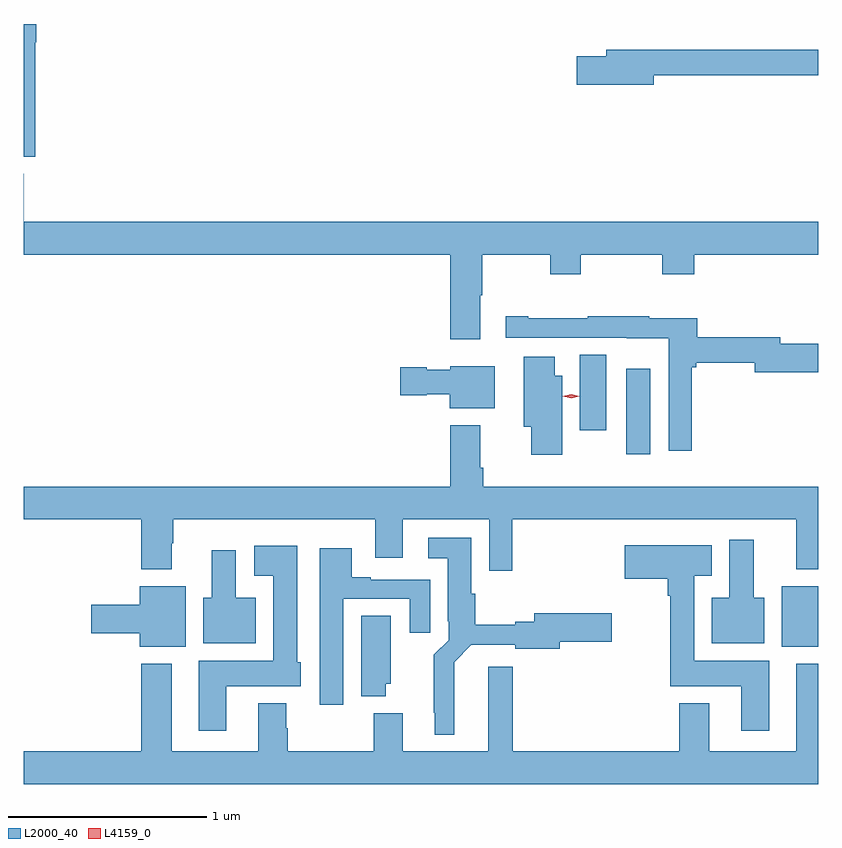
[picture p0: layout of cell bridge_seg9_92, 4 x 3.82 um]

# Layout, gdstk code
import gdstk
lib = gdstk.Library(unit=1e-6, precision=1e-09)
def R(c, l, rs):  # rectangles x0, y0, x1, y1
    for r in rs: c.add(gdstk.rectangle(r[:2], r[2:], *l))
def P(c, l, *ps):  # polygons
    for p in ps: c.add(gdstk.Polygon(p, *l))
L2000_40 = (2000, 40)
L4159_0 = (4159, 0)

bridge_seg9_92 = lib.new_cell('bridge_seg9_92')
R(bridge_seg9_92, L2000_40, [(712.487,1229.078,712.672,1229.383), (711.704,1230.048,711.826,1230.478), (711.47,1230.168,711.604,1230.548)])
P(bridge_seg9_92, L2000_40, [(708.731,1232.121),(708.736,1232.121),(708.736,1232.212),(708.672,1232.212),(708.672,1231.544),(708.731,1231.544)],
  [(711.844,1231.954),(712.672,1231.954),(712.672,1232.083),(711.605,1232.083),(711.605,1232.049),(711.456,1232.049),(711.456,1231.907),(711.844,1231.907)],
  [(710.971,1230.848),(710.979,1230.848),(710.979,1231.052),(711.322,1231.052),(711.322,1230.953),(711.477,1230.953),(711.477,1231.052),(711.886,1231.052),(711.886,1230.953),(712.046,1230.953),(712.046,1231.052),(712.672,1231.052),(712.672,1231.216),(708.674,1231.216),(708.674,1231.459),(708.672,1231.459),(708.672,1231.052),(710.819,1231.052),(710.819,1230.627),(710.971,1230.627)],
  [(712.034,1230.485),(712.056,1230.485),(712.056,1230.508),(712.352,1230.508),(712.352,1230.461),(712.672,1230.461),(712.672,1230.603),(712.48,1230.603),(712.48,1230.637),(712.061,1230.637),(712.061,1230.732),(711.821,1230.732),(711.821,1230.742),(711.511,1230.742),(711.511,1230.732),(711.211,1230.732),(711.211,1230.742),(711.099,1230.742),(711.099,1230.633),(711.708,1230.633),(711.708,1230.632),(711.918,1230.632),(711.918,1230.066),(712.034,1230.066)],
  [(711.382,1230.442),(711.346,1230.442),(711.346,1230.538),(711.188,1230.538),(711.188,1230.185),(711.227,1230.185),(711.227,1230.045),(711.382,1230.045)],
  [(711.043,1230.49),(710.82,1230.49),(710.82,1230.472),(710.7,1230.472),(710.7,1230.485),(710.568,1230.485),(710.568,1230.343),(710.7,1230.343),(710.7,1230.35),(710.816,1230.35),(710.816,1230.278),(711.043,1230.278)],
  [(711.131,1229.72),(712.559,1229.72),(712.559,1229.468),(712.672,1229.468),(712.672,1229.884),(710.984,1229.884),(710.984,1229.98),(710.971,1229.98),(710.971,1230.193),(710.819,1230.193),(710.819,1229.884),(708.672,1229.884),(708.672,1229.72),(709.265,1229.72),(709.265,1229.468),(709.417,1229.468),(709.417,1229.6),(709.425,1229.6),(709.425,1229.72),(710.441,1229.72),(710.441,1229.526),(710.581,1229.526),(710.581,1229.72),(711.015,1229.72),(711.015,1229.46),(711.131,1229.46)],
  [(710.839,1229),(710.926,1229.088),(711.146,1229.088),(711.146,1229.068),(711.37,1229.068),(711.37,1229.105),(711.631,1229.105),(711.631,1229.247),(711.242,1229.247),(711.242,1229.204),(711.146,1229.204),(711.146,1229.189),(710.944,1229.189),(710.944,1229.346),(710.926,1229.346),(710.926,1229.626),(710.709,1229.626),(710.709,1229.525),(710.807,1229.525),(710.807,1229.206),(710.811,1229.206),(710.811,1229.112),(710.737,1229.038),(710.737,1228.747),(710.741,1228.747),(710.741,1228.637),(710.839,1228.637)],
  [(712.399,1229.326),(712.345,1229.326),(712.345,1229.617),(712.223,1229.617),(712.223,1229.326),(712.136,1229.326),(712.136,1229.096),(712.399,1229.096)],
  [(712.423,1229.008),(712.048,1229.008),(712.048,1229.435),(712.135,1229.435),(712.135,1229.59),(711.696,1229.59),(711.696,1229.42),(711.914,1229.42),(711.914,1229.336),(711.926,1229.336),(711.926,1228.88),(712.283,1228.88),(712.283,1228.656),(712.423,1228.656)],
  [(709.693,1228.88),(710.068,1228.88),(710.068,1229.001),(710.05,1229.001),(710.05,1229.587),(709.833,1229.587),(709.833,1229.435),(709.928,1229.435),(709.928,1229.008),(709.553,1229.008),(709.553,1228.656),(709.693,1228.656)],
  [(710.281,1229.319),(710.615,1229.319),(710.615,1229.148),(710.719,1229.148),(710.719,1229.415),(710.419,1229.415),(710.419,1229.428),(710.323,1229.428),(710.323,1229.575),(710.162,1229.575),(710.162,1228.788),(710.281,1228.788)],
  [(709.84,1229.326),(709.741,1229.326),(709.741,1229.563),(709.619,1229.563),(709.619,1229.326),(709.577,1229.326),(709.577,1229.096),(709.84,1229.096)],
  [(709.489,1229.383),(709.256,1229.383),(709.256,1229.289),(709.014,1229.289),(709.014,1229.147),(709.256,1229.147),(709.256,1229.078),(709.489,1229.078)],
  [(710.494,1228.893),(710.521,1228.893),(710.521,1229.234),(710.372,1229.234),(710.372,1228.829),(710.494,1228.829)],
  [(712.672,1228.993),(712.559,1228.993),(712.559,1228.552),(712.123,1228.552),(712.123,1228.795),(711.971,1228.795),(711.971,1228.552),(711.134,1228.552),(711.134,1228.978),(711.011,1228.978),(711.011,1228.552),(710.581,1228.552),(710.581,1228.744),(710.434,1228.744),(710.434,1228.552),(710.001,1228.552),(710.001,1228.668),(709.993,1228.668),(709.993,1228.795),(709.853,1228.795),(709.853,1228.552),(709.417,1228.552),(709.417,1228.993),(709.265,1228.993),(709.265,1228.552),(708.672,1228.552),(708.672,1228.388),(712.672,1228.388)])
P(bridge_seg9_92, L4159_0, [(711.427,1230.329),(711.386,1230.338),(711.386,1230.338),(711.386,1230.338),(711.427,1230.349),(711.468,1230.339),(711.469,1230.339),(711.468,1230.339)])

lib.write_gds('bridge_seg9_92.gds')
